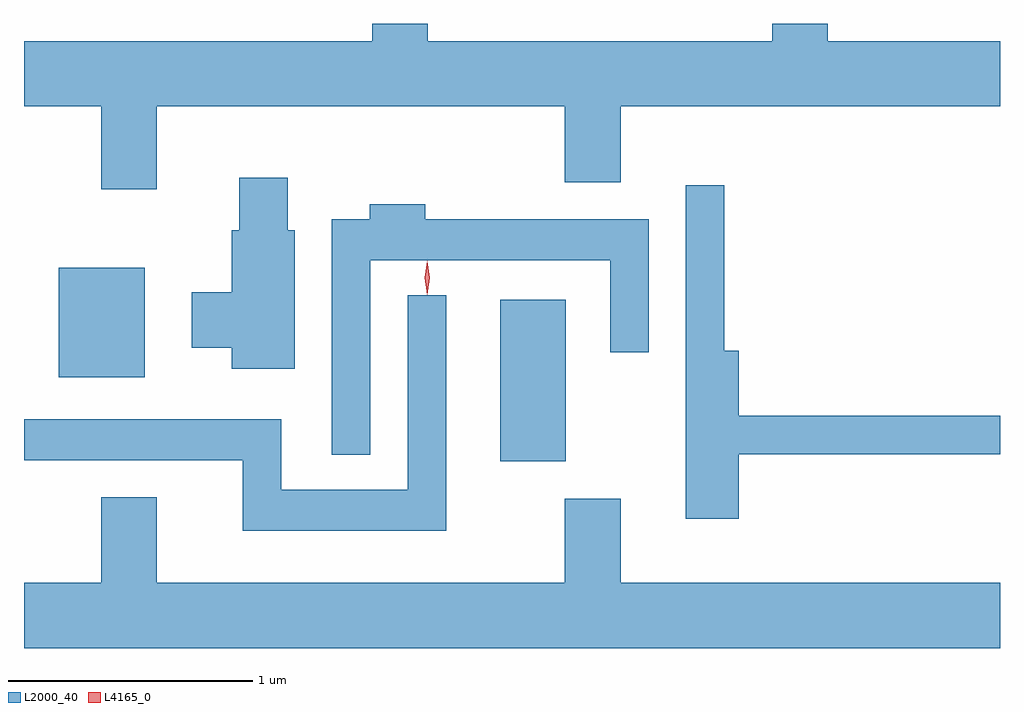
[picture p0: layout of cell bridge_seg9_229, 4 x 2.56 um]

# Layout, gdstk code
import gdstk
lib = gdstk.Library(unit=1e-6, precision=1e-09)
def R(c, l, rs):  # rectangles x0, y0, x1, y1
    for r in rs: c.add(gdstk.rectangle(r[:2], r[2:], *l))
def P(c, l, *ps):  # polygons
    for p in ps: c.add(gdstk.Polygon(p, *l))
L2000_40 = (2000, 40)
L4165_0 = (4165, 0)

bridge_seg9_229 = lib.new_cell('bridge_seg9_229')
R(bridge_seg9_229, L2000_40, [(1469.926,1945.961,1470.194,1946.624), (1468.116,1946.306,1468.469,1946.754)])
P(bridge_seg9_229, L2000_40, [(1468.519,1947.416),(1470.191,1947.416),(1470.191,1947.106),(1470.419,1947.106),(1470.419,1947.416),(1471.974,1947.416),(1471.974,1947.684),(1471.269,1947.684),(1471.269,1947.754),(1471.041,1947.754),(1471.041,1947.684),(1469.629,1947.684),(1469.629,1947.754),(1469.401,1947.754),(1469.401,1947.684),(1467.974,1947.684),(1467.974,1947.416),(1468.291,1947.416),(1468.291,1947.076),(1468.519,1947.076)],
  [(1469.084,1946.909),(1469.054,1946.909),(1469.054,1947.124),(1468.856,1947.124),(1468.856,1946.909),(1468.826,1946.909),(1468.826,1946.654),(1468.661,1946.654),(1468.661,1946.426),(1468.826,1946.426),(1468.826,1946.341),(1469.084,1946.341)],
  [(1470.904,1945.991),(1471.974,1945.991),(1471.974,1946.149),(1470.904,1946.149),(1470.904,1946.414),(1470.844,1946.414),(1470.844,1947.093),(1470.686,1947.093),(1470.686,1945.726),(1470.904,1945.726)],
  [(1469.394,1946.786),(1470.376,1946.786),(1470.376,1946.408),(1470.534,1946.408),(1470.534,1946.954),(1469.619,1946.954),(1469.619,1947.014),(1469.391,1947.014),(1469.391,1946.954),(1469.236,1946.954),(1469.236,1945.988),(1469.394,1945.988)],
  [(1469.704,1946.643),(1469.546,1946.643),(1469.546,1945.844),(1469.029,1945.844),(1469.029,1946.134),(1467.974,1946.134),(1467.974,1945.966),(1468.871,1945.966),(1468.871,1945.676),(1469.704,1945.676)],
  [(1471.974,1945.464),(1470.419,1945.464),(1470.419,1945.809),(1470.191,1945.809),(1470.191,1945.464),(1468.519,1945.464),(1468.519,1945.814),(1468.291,1945.814),(1468.291,1945.464),(1467.974,1945.464),(1467.974,1945.196),(1471.974,1945.196)])
P(bridge_seg9_229, L4165_0, [(1469.626,1946.644),(1469.626,1946.645),(1469.616,1946.714),(1469.626,1946.782),(1469.626,1946.783),(1469.627,1946.782),(1469.636,1946.714),(1469.627,1946.645)],
  [(1469.626,1946.648),(1469.626,1946.648),(1469.616,1946.714),(1469.626,1946.78),(1469.626,1946.781),(1469.627,1946.78),(1469.636,1946.714),(1469.627,1946.648)])

lib.write_gds('bridge_seg9_229.gds')
